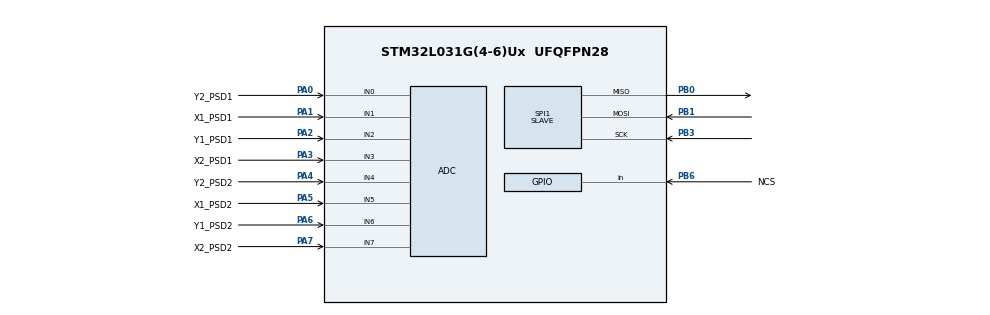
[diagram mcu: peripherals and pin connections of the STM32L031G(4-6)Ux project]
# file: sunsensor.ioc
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ADC.ContinuousConvMode=ENABLE
ADC.DMAContinuousRequests=ENABLE
ADC.EOCSelection=ADC_EOC_SEQ_CONV
ADC.SamplingTime=ADC_SAMPLETIME_160CYCLES_5
Dma.ADC.0.Direction=DMA_PERIPH_TO_MEMORY
Dma.ADC.0.Instance=DMA1_Channel1
Dma.ADC.0.MemDataAlignment=DMA_MDATAALIGN_HALFWORD
Dma.ADC.0.MemInc=DMA_MINC_ENABLE
Dma.ADC.0.Mode=DMA_CIRCULAR
Dma.ADC.0.PeriphDataAlignment=DMA_PDATAALIGN_HALFWORD
Dma.ADC.0.PeriphInc=DMA_PINC_DISABLE
Dma.ADC.0.Priority=DMA_PRIORITY_VERY_HIGH
Dma.Request0=ADC
Mcu.Family=STM32L0
Mcu.Name=STM32L031G(4-6)Ux
Mcu.Package=UFQFPN28
NVIC.DMA1_Channel1_IRQn=true\:0\:0\:false\:false\:true\:false\:true\:true
PA0-CK_IN.GPIO_Label=Y2_PSD1
PA0-CK_IN.Mode=IN0
PA0-CK_IN.Signal=ADC_IN0
PA1.GPIO_Label=X1_PSD1
PA1.Mode=IN1
PA1.Signal=ADC_IN1
PA13.Mode=Serial_Wire
PA13.Signal=SYS_SWDIO
PA14.Mode=Serial_Wire
PA14.Signal=SYS_SWCLK
PA2.GPIO_Label=Y1_PSD1
PA2.Mode=IN2
PA2.Signal=ADC_IN2
PA3.GPIO_Label=X2_PSD1
PA3.Mode=IN3
PA3.Signal=ADC_IN3
PA4.GPIO_Label=Y2_PSD2
PA4.Mode=IN4
PA4.Signal=ADC_IN4
PA5.GPIO_Label=X1_PSD2
PA5.Mode=IN5
PA5.Signal=ADC_IN5
PA6.GPIO_Label=Y1_PSD2
PA6.Mode=IN6
PA6.Signal=ADC_IN6
PA7.GPIO_Label=X2_PSD2
PA7.Mode=IN7
PA7.Signal=ADC_IN7
PB0.Mode=Full_Duplex_Slave
PB0.Signal=SPI1_MISO
PB1.Mode=Full_Duplex_Slave
PB1.Signal=SPI1_MOSI
PB3.Mode=Full_Duplex_Slave
PB3.Signal=SPI1_SCK
PB6.GPIO_Label=NCS
PB6.Signal=GPIO_Input
ProjectManager.HeapSize=0x200
ProjectManager.StackSize=0x400
ProjectManager.TargetToolchain=STM32CubeIDE
RCC.AHBFreq_Value=16000000
RCC.APB1Freq_Value=16000000
RCC.APB1TimFreq_Value=16000000
RCC.APB2Freq_Value=16000000
RCC.APB2TimFreq_Value=16000000
RCC.HCLKFreq_Value=16000000
RCC.HSE_VALUE=8000000
RCC.HSI16_VALUE=16000000
RCC.HSI_VALUE=16000000
RCC.LSE_VALUE=32768
RCC.MSI_VALUE=2097000
RCC.SYSCLKFreq_VALUE=16000000
RCC.SYSCLKSource=RCC_SYSCLKSOURCE_HSI
RCC.VCOOutputFreq_Value=48000000
SPI1.Direction=SPI_DIRECTION_2LINES
SPI1.Mode=SPI_MODE_SLAVE
SPI1.VirtualType=VM_SLAVE
VP_ADC_TempSens_Input.Mode=IN-TempSens
VP_ADC_Vref_Input.Mode=IN-Vrefint
board=custom

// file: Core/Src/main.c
/* USER CODE BEGIN Header */
/**
 ******************************************************************************
 * @file           : main.c
 * @brief          : Main program body
 ******************************************************************************
 * @attention
 *
 * Copyright (c) 2025 STMicroelectronics.
 * All rights reserved.
 *
 * This software is licensed under terms that can be found in the LICENSE file
 * in the root directory of this software component.
 * If no LICENSE file comes with this software, it is provided AS-IS.
 *
 ******************************************************************************
 */
/* USER CODE END Header */
#include "main.h"

void SystemClock_Config(void);
static void MX_GPIO_Init(void);
static void MX_DMA_Init(void);
static void MX_ADC_Init(void);
static void MX_SPI1_Init(void);

/* USER CODE BEGIN 0 */
uint8_t  flagDMATC = 0;
uint16_t adcVal[10];
uint16_t regmap[16];
uint8_t  spi_rx_data = 0;
uint8_t  spi_tx_data = 0;
//int __io_putchar (int ch)
//{
//  while (!LL_USART_IsActiveFlag_TXE(USARTx));
//  LL_USART_TransmitData8(USARTx, (char)ch);
//  return ch;
//}
/* USER CODE END 0 */

int main(void)
{

	/* MCU Configuration--------------------------------------------------------*/

	/* Reset of all peripherals, Initializes the Flash interface and the Systick. */
	LL_APB2_GRP1_EnableClock(LL_APB2_GRP1_PERIPH_SYSCFG);
	LL_APB1_GRP1_EnableClock(LL_APB1_GRP1_PERIPH_PWR);

	/* SysTick_IRQn interrupt configuration */
	NVIC_SetPriority(SysTick_IRQn, 3);

	/* Configure the system clock */
	SystemClock_Config();

	/* Initialize all configured peripherals */
	MX_GPIO_Init();
	MX_DMA_Init();
	MX_ADC_Init();
	MX_SPI1_Init();
	/* USER CODE BEGIN 2 */

	// configure DMA source & target
	LL_DMA_ConfigAddresses(DMA1,
			LL_DMA_CHANNEL_1,
			LL_ADC_DMA_GetRegAddr(ADC1, LL_ADC_DMA_REG_REGULAR_DATA),
			(uint32_t)adcVal,
			LL_DMA_DIRECTION_PERIPH_TO_MEMORY);
	// configure DMA length
	LL_DMA_SetDataLength(DMA1, LL_DMA_CHANNEL_1, 10);
	// enable DMA stream
	LL_DMA_EnableChannel(DMA1, LL_DMA_CHANNEL_1);
	// enable ADC
	LL_ADC_Enable(ADC1);
	// start conversion
	LL_ADC_REG_StartConversion(ADC1);

	/* USER CODE END 2 */

	/* Infinite loop */
	/* USER CODE BEGIN WHILE */
	while (1)
	{
		while(!flagDMATC);
		// clear flag
		flagDMATC = 0;

		int16_t sum_psd1 = adcVal[1]+adcVal[3]+adcVal[2]+adcVal[0];
		int16_t a1 = (int16_t)(adcVal[3]+adcVal[2]) - (int16_t)(adcVal[1]+adcVal[0]);
		int16_t b1 = (int16_t)(adcVal[3]+adcVal[0]) - (int16_t)(adcVal[1]+adcVal[2]);
		int16_t position_x_psd1 = a1/sum_psd1;
		int16_t position_y_psd1 = b1/sum_psd1;
		int16_t intensity_psd1 = sum_psd1;

		int16_t sum_psd2 = adcVal[5]+adcVal[7]+adcVal[6]+adcVal[4];
		int16_t a2 = (int16_t)(adcVal[7]+adcVal[6]) - (int16_t)(adcVal[5]+adcVal[4]);
		int16_t b2 = (int16_t)(adcVal[7]+adcVal[4]) - (int16_t)(adcVal[5]+adcVal[6]);
		int16_t position_x_psd2 = a2/sum_psd2;
		int16_t position_y_psd2 = b2/sum_psd2;
		int16_t intensity_psd2 = sum_psd2;

		//	    // convert to temperature & Vdd
		//	    float temp = (float)adcVal[8] * 3.3f / 4096.0f;
		//	    temp = (temp - 0.76) / 0.0025 + 25;
		//
		//	    // Vdd = 3.3V * Vrefint_cal / Vrefint
		//	    float Vdd = 3.3f * (*VREFINT_CAL_ADDR) / (float)adcVal[9];

		// print results
		//	    printf("psd1 x1: %d, psd1 x2: %d, psd1 y1: %d, psd1 y2: %d,"
		//	    	   "psd2 x1: %d, psd2 x2: %d, psd2 y1: %d, psd2 y2: %d,"
		//	    	   " TEMP: %2.1f, Vdd: %1.2f\r\n",
		//			   adcVal[1],adcVal[3],adcVal[2],adcVal[0],
		//			   adcVal[5],adcVal[7],adcVal[6],adcVal[4], temp, Vdd);

		for(uint16_t i=0;i<10;i++){
			regmap[i] = adcVal[i];
		}
		regmap[10]=position_x_psd1;
		regmap[11]=position_y_psd1;
		regmap[12]=intensity_psd1;
		regmap[13]=position_x_psd2;
		regmap[14]=position_y_psd2;
		regmap[15]=intensity_psd2;
		//	    regmap[16]=temp;
		//	    regmap[17]=Vdd;

		if(LL_GPIO_IsInputPinSet(NCS_GPIO_Port, NCS_Pin) == 0){

			while (!LL_SPI_IsActiveFlag_RXNE(SPI1));
			spi_rx_data = LL_SPI_ReceiveData8(SPI1);

			uint8_t spi_tx_high_byte = ((regmap)[spi_rx_data] >> 8) & 0xFF;
			uint8_t spi_tx_low_byte  =  (regmap)[spi_rx_data] & 0xFF;

			while (!LL_SPI_IsActiveFlag_TXE(SPI1));
			LL_SPI_TransmitData8(SPI1, spi_tx_high_byte);
			while (!LL_SPI_IsActiveFlag_TXE(SPI1));
			LL_SPI_TransmitData8(SPI1, spi_tx_low_byte);
		}

		/* USER CODE END WHILE */

	}
}

void SystemClock_Config(void)
{
	LL_FLASH_SetLatency(LL_FLASH_LATENCY_0);
	while(LL_FLASH_GetLatency()!= LL_FLASH_LATENCY_0)
	{
	}
	LL_PWR_SetRegulVoltageScaling(LL_PWR_REGU_VOLTAGE_SCALE1);
	while (LL_PWR_IsActiveFlag_VOS() != 0)
	{
	}
	LL_RCC_HSI_Enable();

	/* Wait till HSI is ready */
	while(LL_RCC_HSI_IsReady() != 1)
	{

	}
	LL_RCC_HSI_SetCalibTrimming(16);
	LL_RCC_SetAHBPrescaler(LL_RCC_SYSCLK_DIV_1);
	LL_RCC_SetAPB1Prescaler(LL_RCC_APB1_DIV_1);
	LL_RCC_SetAPB2Prescaler(LL_RCC_APB2_DIV_1);
	LL_RCC_SetSysClkSource(LL_RCC_SYS_CLKSOURCE_HSI);

	/* Wait till System clock is ready */
	while(LL_RCC_GetSysClkSource() != LL_RCC_SYS_CLKSOURCE_STATUS_HSI)
	{

	}

	LL_Init1msTick(16000000);

	LL_SetSystemCoreClock(16000000);
}

static void MX_ADC_Init(void)
{

	LL_ADC_REG_InitTypeDef ADC_REG_InitStruct = {0};
	LL_ADC_InitTypeDef ADC_InitStruct = {0};

	LL_GPIO_InitTypeDef GPIO_InitStruct = {0};

	/* Peripheral clock enable */
	LL_APB2_GRP1_EnableClock(LL_APB2_GRP1_PERIPH_ADC1);

	LL_IOP_GRP1_EnableClock(LL_IOP_GRP1_PERIPH_GPIOA);
	/**ADC GPIO Configuration
  PA0-CK_IN   ------> ADC_IN0
  PA1   ------> ADC_IN1
  PA2   ------> ADC_IN2
  PA3   ------> ADC_IN3
  PA4   ------> ADC_IN4
  PA5   ------> ADC_IN5
  PA6   ------> ADC_IN6
  PA7   ------> ADC_IN7
	 */
	GPIO_InitStruct.Pin = Y2_PSD1_Pin;
	GPIO_InitStruct.Mode = LL_GPIO_MODE_ANALOG;
	GPIO_InitStruct.Pull = LL_GPIO_PULL_NO;
	LL_GPIO_Init(Y2_PSD1_GPIO_Port, &GPIO_InitStruct);

	GPIO_InitStruct.Pin = X1_PSD1_Pin;
	GPIO_InitStruct.Mode = LL_GPIO_MODE_ANALOG;
	GPIO_InitStruct.Pull = LL_GPIO_PULL_NO;
	LL_GPIO_Init(X1_PSD1_GPIO_Port, &GPIO_InitStruct);

	GPIO_InitStruct.Pin = Y1_PSD1_Pin;
	GPIO_InitStruct.Mode = LL_GPIO_MODE_ANALOG;
	GPIO_InitStruct.Pull = LL_GPIO_PULL_NO;
	LL_GPIO_Init(Y1_PSD1_GPIO_Port, &GPIO_InitStruct);

	GPIO_InitStruct.Pin = X2_PSD1_Pin;
	GPIO_InitStruct.Mode = LL_GPIO_MODE_ANALOG;
	GPIO_InitStruct.Pull = LL_GPIO_PULL_NO;
	LL_GPIO_Init(X2_PSD1_GPIO_Port, &GPIO_InitStruct);

	GPIO_InitStruct.Pin = Y2_PSD2_Pin;
	GPIO_InitStruct.Mode = LL_GPIO_MODE_ANALOG;
	GPIO_InitStruct.Pull = LL_GPIO_PULL_NO;
	LL_GPIO_Init(Y2_PSD2_GPIO_Port, &GPIO_InitStruct);

	GPIO_InitStruct.Pin = X1_PSD2_Pin;
	GPIO_InitStruct.Mode = LL_GPIO_MODE_ANALOG;
	GPIO_InitStruct.Pull = LL_GPIO_PULL_NO;
	LL_GPIO_Init(X1_PSD2_GPIO_Port, &GPIO_InitStruct);

	GPIO_InitStruct.Pin = Y1_PSD2_Pin;
	GPIO_InitStruct.Mode = LL_GPIO_MODE_ANALOG;
	GPIO_InitStruct.Pull = LL_GPIO_PULL_NO;
	LL_GPIO_Init(Y1_PSD2_GPIO_Port, &GPIO_InitStruct);

	GPIO_InitStruct.Pin = X2_PSD2_Pin;
	GPIO_InitStruct.Mode = LL_GPIO_MODE_ANALOG;
	GPIO_InitStruct.Pull = LL_GPIO_PULL_NO;
	LL_GPIO_Init(X2_PSD2_GPIO_Port, &GPIO_InitStruct);

	/* ADC DMA Init */

	/* ADC Init */
	LL_DMA_SetPeriphRequest(DMA1, LL_DMA_CHANNEL_1, LL_DMA_REQUEST_0);

	LL_DMA_SetDataTransferDirection(DMA1, LL_DMA_CHANNEL_1, LL_DMA_DIRECTION_PERIPH_TO_MEMORY);

	LL_DMA_SetChannelPriorityLevel(DMA1, LL_DMA_CHANNEL_1, LL_DMA_PRIORITY_VERYHIGH);

	LL_DMA_SetMode(DMA1, LL_DMA_CHANNEL_1, LL_DMA_MODE_CIRCULAR);

	LL_DMA_SetPeriphIncMode(DMA1, LL_DMA_CHANNEL_1, LL_DMA_PERIPH_NOINCREMENT);

	LL_DMA_SetMemoryIncMode(DMA1, LL_DMA_CHANNEL_1, LL_DMA_MEMORY_INCREMENT);

	LL_DMA_SetPeriphSize(DMA1, LL_DMA_CHANNEL_1, LL_DMA_PDATAALIGN_HALFWORD);

	LL_DMA_SetMemorySize(DMA1, LL_DMA_CHANNEL_1, LL_DMA_MDATAALIGN_HALFWORD);

	/** Configure Regular Channel
	 */
	LL_ADC_REG_SetSequencerChAdd(ADC1, LL_ADC_CHANNEL_0);

	/** Configure Regular Channel
	 */
	LL_ADC_REG_SetSequencerChAdd(ADC1, LL_ADC_CHANNEL_1);

	/** Configure Regular Channel
	 */
	LL_ADC_REG_SetSequencerChAdd(ADC1, LL_ADC_CHANNEL_2);

	/** Configure Regular Channel
	 */
	LL_ADC_REG_SetSequencerChAdd(ADC1, LL_ADC_CHANNEL_3);

	/** Configure Regular Channel
	 */
	LL_ADC_REG_SetSequencerChAdd(ADC1, LL_ADC_CHANNEL_4);

	/** Configure Regular Channel
	 */
	LL_ADC_REG_SetSequencerChAdd(ADC1, LL_ADC_CHANNEL_5);

	/** Configure Regular Channel
	 */
	LL_ADC_REG_SetSequencerChAdd(ADC1, LL_ADC_CHANNEL_6);

	/** Configure Regular Channel
	 */
	LL_ADC_REG_SetSequencerChAdd(ADC1, LL_ADC_CHANNEL_7);

	/** Configure Regular Channel
	 */
	LL_ADC_REG_SetSequencerChAdd(ADC1, LL_ADC_CHANNEL_TEMPSENSOR);
	LL_ADC_SetCommonPathInternalCh(__LL_ADC_COMMON_INSTANCE(ADC1), LL_ADC_PATH_INTERNAL_TEMPSENSOR);

	/** Configure Regular Channel
	 */
	LL_ADC_REG_SetSequencerChAdd(ADC1, LL_ADC_CHANNEL_VREFINT);
	LL_ADC_SetCommonPathInternalCh(__LL_ADC_COMMON_INSTANCE(ADC1), LL_ADC_PATH_INTERNAL_VREFINT);

	/** Common config
	 */
	ADC_REG_InitStruct.TriggerSource = LL_ADC_REG_TRIG_SOFTWARE;
	ADC_REG_InitStruct.SequencerDiscont = LL_ADC_REG_SEQ_DISCONT_DISABLE;
	ADC_REG_InitStruct.ContinuousMode = LL_ADC_REG_CONV_CONTINUOUS;
	ADC_REG_InitStruct.DMATransfer = LL_ADC_REG_DMA_TRANSFER_UNLIMITED;
	ADC_REG_InitStruct.Overrun = LL_ADC_REG_OVR_DATA_PRESERVED;
	LL_ADC_REG_Init(ADC1, &ADC_REG_InitStruct);
	LL_ADC_SetSamplingTimeCommonChannels(ADC1, LL_ADC_SAMPLINGTIME_160CYCLES_5);
	LL_ADC_SetOverSamplingScope(ADC1, LL_ADC_OVS_DISABLE);
	LL_ADC_REG_SetSequencerScanDirection(ADC1, LL_ADC_REG_SEQ_SCAN_DIR_FORWARD);
	LL_ADC_SetCommonFrequencyMode(__LL_ADC_COMMON_INSTANCE(ADC1), LL_ADC_CLOCK_FREQ_MODE_HIGH);
	LL_ADC_DisableIT_EOC(ADC1);
	LL_ADC_DisableIT_EOS(ADC1);
	ADC_InitStruct.Clock = LL_ADC_CLOCK_SYNC_PCLK_DIV1;
	ADC_InitStruct.Resolution = LL_ADC_RESOLUTION_12B;
	ADC_InitStruct.DataAlignment = LL_ADC_DATA_ALIGN_RIGHT;
	ADC_InitStruct.LowPowerMode = LL_ADC_LP_MODE_NONE;
	LL_ADC_Init(ADC1, &ADC_InitStruct);

	/* Enable ADC internal voltage regulator */
	LL_ADC_EnableInternalRegulator(ADC1);
	/* Delay for ADC internal voltage regulator stabilization. */
	/* Compute number of CPU cycles to wait for, from delay in us. */
	/* Note: Variable divided by 2 to compensate partially */
	/* CPU processing cycles (depends on compilation optimization). */
	/* Note: If system core clock frequency is below 200kHz, wait time */
	/* is only a few CPU processing cycles. */
	uint32_t wait_loop_index;
	wait_loop_index = ((LL_ADC_DELAY_INTERNAL_REGUL_STAB_US * (SystemCoreClock / (100000 * 2))) / 10);
	while(wait_loop_index != 0)
	{
		wait_loop_index--;
	}

}

static void MX_SPI1_Init(void)
{

	LL_SPI_InitTypeDef SPI_InitStruct = {0};

	LL_GPIO_InitTypeDef GPIO_InitStruct = {0};

	/* Peripheral clock enable */
	LL_APB2_GRP1_EnableClock(LL_APB2_GRP1_PERIPH_SPI1);

	LL_IOP_GRP1_EnableClock(LL_IOP_GRP1_PERIPH_GPIOB);
	/**SPI1 GPIO Configuration
  PB0   ------> SPI1_MISO
  PB1   ------> SPI1_MOSI
  PB3   ------> SPI1_SCK
	 */
	GPIO_InitStruct.Pin = LL_GPIO_PIN_0;
	GPIO_InitStruct.Mode = LL_GPIO_MODE_ALTERNATE;
	GPIO_InitStruct.Speed = LL_GPIO_SPEED_FREQ_VERY_HIGH;
	GPIO_InitStruct.OutputType = LL_GPIO_OUTPUT_PUSHPULL;
	GPIO_InitStruct.Pull = LL_GPIO_PULL_NO;
	GPIO_InitStruct.Alternate = LL_GPIO_AF_1;
	LL_GPIO_Init(GPIOB, &GPIO_InitStruct);

	GPIO_InitStruct.Pin = LL_GPIO_PIN_1;
	GPIO_InitStruct.Mode = LL_GPIO_MODE_ALTERNATE;
	GPIO_InitStruct.Speed = LL_GPIO_SPEED_FREQ_VERY_HIGH;
	GPIO_InitStruct.OutputType = LL_GPIO_OUTPUT_PUSHPULL;
	GPIO_InitStruct.Pull = LL_GPIO_PULL_NO;
	GPIO_InitStruct.Alternate = LL_GPIO_AF_1;
	LL_GPIO_Init(GPIOB, &GPIO_InitStruct);

	GPIO_InitStruct.Pin = LL_GPIO_PIN_3;
	GPIO_InitStruct.Mode = LL_GPIO_MODE_ALTERNATE;
	GPIO_InitStruct.Speed = LL_GPIO_SPEED_FREQ_VERY_HIGH;
	GPIO_InitStruct.OutputType = LL_GPIO_OUTPUT_PUSHPULL;
	GPIO_InitStruct.Pull = LL_GPIO_PULL_NO;
	GPIO_InitStruct.Alternate = LL_GPIO_AF_0;
	LL_GPIO_Init(GPIOB, &GPIO_InitStruct);

	/* SPI1 parameter configuration*/
	SPI_InitStruct.TransferDirection = LL_SPI_FULL_DUPLEX;
	SPI_InitStruct.Mode = LL_SPI_MODE_SLAVE;
	SPI_InitStruct.DataWidth = LL_SPI_DATAWIDTH_8BIT;
	SPI_InitStruct.ClockPolarity = LL_SPI_POLARITY_LOW;
	SPI_InitStruct.ClockPhase = LL_SPI_PHASE_1EDGE;
	SPI_InitStruct.NSS = LL_SPI_NSS_SOFT;
	SPI_InitStruct.BitOrder = LL_SPI_MSB_FIRST;
	SPI_InitStruct.CRCCalculation = LL_SPI_CRCCALCULATION_DISABLE;
	SPI_InitStruct.CRCPoly = 7;
	LL_SPI_Init(SPI1, &SPI_InitStruct);
	LL_SPI_SetStandard(SPI1, LL_SPI_PROTOCOL_MOTOROLA);

}

static void MX_DMA_Init(void)
{

	/* Init with LL driver */
	/* DMA controller clock enable */
	LL_AHB1_GRP1_EnableClock(LL_AHB1_GRP1_PERIPH_DMA1);

	/* DMA interrupt init */
	/* DMA1_Channel1_IRQn interrupt configuration */
	NVIC_SetPriority(DMA1_Channel1_IRQn, 0);
	NVIC_EnableIRQ(DMA1_Channel1_IRQn);

}

static void MX_GPIO_Init(void)
{
	LL_GPIO_InitTypeDef GPIO_InitStruct = {0};

	/* GPIO Ports Clock Enable */
	LL_IOP_GRP1_EnableClock(LL_IOP_GRP1_PERIPH_GPIOA);
	LL_IOP_GRP1_EnableClock(LL_IOP_GRP1_PERIPH_GPIOB);

	/**/
	GPIO_InitStruct.Pin = NCS_Pin;
	GPIO_InitStruct.Mode = LL_GPIO_MODE_INPUT;
	GPIO_InitStruct.Pull = LL_GPIO_PULL_NO;
	LL_GPIO_Init(NCS_GPIO_Port, &GPIO_InitStruct);

}

void Error_Handler(void)
{
	__disable_irq();
	while (1)
	{
	}
}
